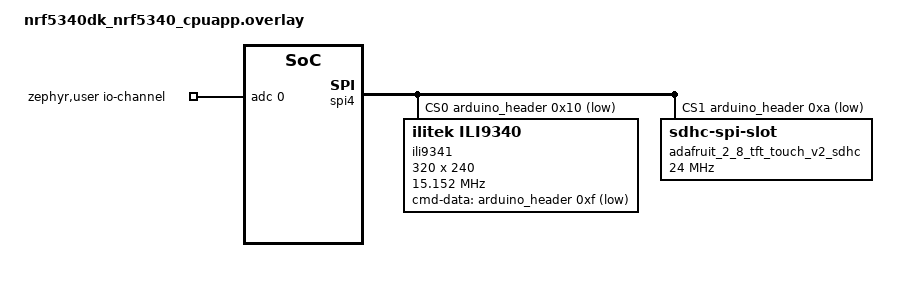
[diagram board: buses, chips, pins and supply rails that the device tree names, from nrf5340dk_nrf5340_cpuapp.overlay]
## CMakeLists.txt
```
# SPDX-License-Identifier: Apache-2.0

cmake_minimum_required(VERSION 3.20.0)

find_package(Zephyr REQUIRED HINTS $ENV{ZEPHYR_BASE})
project(lvgl)

# NORDIC SDK APP START
target_sources(app PRIVATE
  src/main.c 
)
```

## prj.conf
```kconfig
CONFIG_LV_Z_MEM_POOL_SIZE=16384
CONFIG_LV_Z_SHELL=y
CONFIG_MAIN_STACK_SIZE=2048

CONFIG_DISPLAY=y
CONFIG_DISPLAY_LOG_LEVEL_ERR=y

CONFIG_LOG=y
CONFIG_SHELL=y

CONFIG_LVGL=y
CONFIG_LV_USE_BAR=y
CONFIG_LV_TICK_CUSTOM=n
CONFIG_LV_MEM_CUSTOM=y
CONFIG_LV_USE_LOG=y
CONFIG_LV_USE_LABEL=y
CONFIG_LV_USE_BTN=y
CONFIG_LV_USE_ARC=y
CONFIG_LV_USE_IMG=y
CONFIG_LV_USE_MONKEY=y
CONFIG_LV_FONT_MONTSERRAT_14=y


CONFIG_NRFX_SAADC=y
CONFIG_NRFX_PPI=y
CONFIG_NRFX_DPPI=y
CONFIG_NRFX_TIMER2=y

CONFIG_GPIO=y

CONFIG_NCS_SAMPLES_DEFAULTS=y

CONFIG_BT=y
CONFIG_BT_PERIPHERAL=y
CONFIG_BT_DEVICE_NAME="Mic Node"
CONFIG_BT_BUF_ACL_RX_SIZE=502
CONFIG_BT_BUF_ACL_TX_SIZE=502
CONFIG_BT_L2CAP_TX_MTU=498
CONFIG_BT_CTLR_DATA_LENGTH_MAX=251

# Enable the LBS service
CONFIG_BT_LBS=y
CONFIG_BT_LBS_POLL_BUTTON=y
CONFIG_DK_LIBRARY=y


CONFIG_SYSTEM_WORKQUEUE_STACK_SIZE=2048

#Enable float string formatting
CONFIG_NEWLIB_LIBC=y
CONFIG_NEWLIB_LIBC_FLOAT_PRINTF=y

#CMSIS
CONFIG_REQUIRES_FULL_LIBC=y
CONFIG_CMSIS_DSP=y
```

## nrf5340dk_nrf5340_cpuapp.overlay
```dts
// To get started, press Ctrl+Space to bring up the completion menu and view the available nodes.

// You can also use the buttons in the sidebar to perform actions on nodes.
// Actions currently available include:

// * Enabling / disabling the node
// * Adding the bus to a bus
// * Removing the node
// * Connecting ADC channels

// For more help, browse the DeviceTree documentation at https://docs.zephyrproject.org/latest/guides/dts/index.html
// You can also visit the nRF DeviceTree extension documentation at https://docs.nordicsemi.com/bundle/nrf-connect-vscode/page/guides/ncs_configure_app.html#devicetree-support-in-the-extension

/ {
	chosen {
		zephyr,display = &ili9341;
	};

	zephyr,user {
		io-channels = <&adc 0>;
	};
};

&spi4{
    compatible = "nordic,nrf-spim";
    #address-cells = < 0x1 >;
    #size-cells = < 0x0 >;
    reg = < 0xa000 0x1000 >;
    interrupts = < 0xa 0x1 >;
    max-frequency = < 0x1e84800 >;
    easydma-maxcnt-bits = < 0x10 >;
    rx-delay-supported;
    rx-delay = < 0x2 >;
    status = "okay";
    cs-gpios = < &arduino_header 0x10 0x1 >, < &arduino_header 0xa 0x1 >;
    pinctrl-0 = < &spi4_default >;
    pinctrl-1 = < &spi4_sleep >;
    pinctrl-names = "default", "sleep";
    ili9341: ili9341@0 {
        compatible = "ilitek,ili9340";
        spi-max-frequency = < 0xe7319b >;
        reg = <0x0>;
        cmd-data-gpios = < &arduino_header 0xf 0x1 >;
        width = < 0x140 >;
        height = < 0xf0 >;
        pixel-format = < 0x1 >;
        rotation = < 0x5a >;
        frmctr1 = [ 00 18 ];
        pwctrl1 = [ 23 00 ];
        vmctrl1 = [ 3E 28 ];
        vmctrl2 = [ 86 ];
        pgamctrl = [ 0F 31 2B 0C 0E 08 4E F1 37 07 10 03 0E 09 00 ];
        ngamctrl = [ 00 0E 14 03 11 07 31 C1 48 08 0F 0C 31 36 0F ];
    };
    adafruit_2_8_tft_touch_v2_sdhc: sdhc@1 {
        compatible = "zephyr,sdhc-spi-slot";
        reg = < 0x1 >;
        status = "okay";
        spi-max-frequency = < 0x16e3600 >;
        mmc {
            compatible = "zephyr,sdmmc-disk";
            status = "okay";
        };
    };
};

&pinctrl {
    spi4_default{
        group1 {
                psels = <NRF_PSEL(SPIM_SCK, 1, 15)>,
                        <NRF_PSEL(SPIM_MISO, 1, 14)>,
                        <NRF_PSEL(SPIM_MOSI, 1, 13)>;
        };
    };

    spi4_sleep{
        group1 {
                psels = <NRF_PSEL(SPIM_SCK, 1, 15)>,
                        <NRF_PSEL(SPIM_MISO, 1, 14)>,
                        <NRF_PSEL(SPIM_MOSI, 1, 13)>;
                low-power-enable;
        };
    };
};
```

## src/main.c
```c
/*
 * Copyright (c) 2018 Jan Van Winkel <jan.van_winkel@dxplore.eu>
 *
 * SPDX-License-Identifier: Apache-2.0
 */

#include <zephyr/device.h>
#include <zephyr/devicetree.h>
#include <zephyr/drivers/display.h>
#include <zephyr/drivers/gpio.h>
#include <lvgl.h>
#include <stdio.h>
#include <string.h>
#include <zephyr/kernel.h>
#include <lvgl_input_device.h>
#include <zephyr/sys/printk.h>


#include <nrfx_saadc.h>
#include <nrfx_timer.h>
#include <helpers/nrfx_gppi.h>
#if defined(DPPI_PRESENT)
#include <nrfx_dppi.h>
#else
#include <nrfx_ppi.h>
#endif

#include "adcconfig.h"

//CMSIS
#include <stdlib.h>
#include <arm_math.h>
#include <arm_const_structs.h>

#define TEST_LENGTH_SAMPLES 64
#define BAR_COUNT (TEST_LENGTH_SAMPLES/2)

/* -------------------------------------------------------------------
* External Input and Output buffer Declarations for FFT Bin Example
* ------------------------------------------------------------------- */
static float32_t testInput[TEST_LENGTH_SAMPLES];
static float32_t testOutput[TEST_LENGTH_SAMPLES];

/* ------------------------------------------------------------------
* Global variables for FFT Bin Example
* ------------------------------------------------------------------- */
//uint32_t fftSize = 1024;
uint8_t fftFlag = 0;
//uint32_t doBitReverse = 1;

arm_rfft_fast_instance_f32 inst;
float32_t *output, *scratch;

void FFTCompute();



// ADC Config

const nrfx_timer_t timer_instance = NRFX_TIMER_INSTANCE(TIMER_INSTANCE_NUMBER);
static int16_t saadc_sample_buffer[2][SAADC_BUFFER_SIZE];
static uint32_t saadc_current_buffer = 0;

uint32_t adcval=0;

static lv_style_t style_indic;

static void configure_timer(void)
{
    nrfx_err_t err;

    /* Declaring timer config and intialize nrfx_timer instance. 
    1 000 000 Hz → 1 tick/µs */
    
    nrfx_timer_config_t timer_config = NRFX_TIMER_DEFAULT_CONFIG(1000000);
    err = nrfx_timer_init(&timer_instance, &timer_config, NULL);
    if (err != NRFX_SUCCESS) {
        printk("nrfx_timer_init error: %08x", err);
        return;
    }
    uint32_t timer_ticks = nrfx_timer_us_to_ticks(&timer_instance, SAADC_SAMPLE_INTERVAL_US);
    nrfx_timer_extended_compare(&timer_instance, NRF_TIMER_CC_CHANNEL0, timer_ticks, NRF_TIMER_SHORT_COMPARE0_CLEAR_MASK, false);

}

static void saadc_event_handler(nrfx_saadc_evt_t const * p_event)
{
    nrfx_err_t err;
    switch (p_event->type)
    {
            case NRFX_SAADC_EVT_READY:
            
            /*Buffer is ready, timer (and sampling) can be started. */
            nrfx_timer_enable(&timer_instance);
                break;                        
            
        case NRFX_SAADC_EVT_BUF_REQ:
        
            /*Set up the next available buffer. Alternate between buffer 0 and 1 */
            err = nrfx_saadc_buffer_set(saadc_sample_buffer[(saadc_current_buffer++)%2], SAADC_BUFFER_SIZE);
            if (err != NRFX_SUCCESS) {
                printk("nrfx_saadc_buffer_set error: %08x", err);
                return;
            }

            break;

        case NRFX_SAADC_EVT_DONE:

            /* Buffer has been filled. Do something with the data and proceed */
            int64_t total = 0;
            int16_t current_value;
            for (int i = 0; i < p_event->data.done.size; i++) {
                current_value = ((int16_t *)(p_event->data.done.p_buffer))[i];
                testInput[i] = current_value;
                total = total + current_value;
            }
            fftFlag = 1;
            adcval = total  / SAADC_BUFFER_SIZE;
            break;

        default:
            printk("Unhandled SAADC evt %d", p_event->type);
            break;
    }
}


static void configure_saadc(void)
{
    nrfx_err_t err;

    /* STEP 4.4 - Connect ADC interrupt to nrfx interrupt handler */
    IRQ_CONNECT(DT_IRQN(DT_NODELABEL(adc)),
    DT_IRQ(DT_NODELABEL(adc), priority),
    nrfx_isr, nrfx_saadc_irq_handler, 0);

    
    /* STEP 4.5 - Initialize the nrfx_SAADC driver */
    err = nrfx_saadc_init(DT_IRQ(DT_NODELABEL(adc), priority));
    if (err != NRFX_SUCCESS) {
        printk("nrfx_saadc_init error: %08x", err);
        return;
    }
    
    /* STEP 4.6 - Declare the struct to hold the configuration for the SAADC channel used to sample the battery voltage */
    #define SAADC_INPUT_PIN NRF_SAADC_INPUT_AIN0
    static nrfx_saadc_channel_t channel = NRFX_SAADC_DEFAULT_CHANNEL_SE(SAADC_INPUT_PIN, 0);

    /* STEP 4.7 - Change gain config in default config and apply channel configuration */
    channel.channel_config.gain = NRF_SAADC_GAIN1_6;
    err = nrfx_saadc_channels_config(&channel, 1);
    if (err != NRFX_SUCCESS) {
        printk("nrfx_saadc_channels_config error: %08x", err);
        return;
    }

    /* STEP 4.8 - Configure channel 0 in advanced mode with event handler (non-blocking mode) */
    nrfx_saadc_adv_config_t saadc_adv_config = NRFX_SAADC_DEFAULT_ADV_CONFIG;
    err = nrfx_saadc_advanced_mode_set(BIT(0),
                                        NRF_SAADC_RESOLUTION_12BIT,
                                        &saadc_adv_config,
                                        saadc_event_handler);
    if (err != NRFX_SUCCESS) {
        printk("nrfx_saadc_advanced_mode_set error: %08x", err);
        return;
    }
                                            
    /* STEP 4.9 - Configure two buffers to make use of double-buffering feature of SAADC */
    err = nrfx_saadc_buffer_set(saadc_sample_buffer[0], SAADC_BUFFER_SIZE);
    if (err != NRFX_SUCCESS) {
        printk("nrfx_saadc_buffer_set error: %08x", err);
        return;
    }
    err = nrfx_saadc_buffer_set(saadc_sample_buffer[1], SAADC_BUFFER_SIZE);
    if (err != NRFX_SUCCESS) {
        printk("nrfx_saadc_buffer_set error: %08x", err);
        return;
    }

    /* STEP 4.10 - Trigger the SAADC. This will not start sampling, but will prepare buffer for sampling triggered through PPI */
    err = nrfx_saadc_mode_trigger();
    if (err != NRFX_SUCCESS) {
        printk("nrfx_saadc_mode_trigger error: %08x", err);
        return;
    }

}

static void configure_ppi(void)
{
    nrfx_err_t err;
    /* STEP 6.1 - Declare variables used to hold the (D)PPI channel number */
    uint8_t m_saadc_sample_ppi_channel;
    uint8_t m_saadc_start_ppi_channel;

    /* STEP 6.2 - Trigger task sample from timer */
    err = nrfx_gppi_channel_alloc(&m_saadc_sample_ppi_channel);
    if (err != NRFX_SUCCESS) {
        printk("nrfx_gppi_channel_alloc error: %08x", err);
        return;
    }
    
    err = nrfx_gppi_channel_alloc(&m_saadc_start_ppi_channel);
    if (err != NRFX_SUCCESS) {
        printk("nrfx_gppi_channel_alloc error: %08x", err);
        return;
    }


    /* STEP 6.3 - Trigger task sample from timer */
    nrfx_gppi_channel_endpoints_setup(m_saadc_sample_ppi_channel,
        nrfx_timer_compare_event_address_get(&timer_instance,
                             NRF_TIMER_CC_CHANNEL0),
        nrf_saadc_task_address_get(NRF_SAADC, NRF_SAADC_TASK_SAMPLE));

    /* STEP 6.4 - Trigger task start from end event */
    nrfx_gppi_channel_endpoints_setup(m_saadc_start_ppi_channel,
        nrf_saadc_event_address_get(NRF_SAADC, NRF_SAADC_EVENT_END),
        nrf_saadc_task_address_get(NRF_SAADC, NRF_SAADC_TASK_START));

    /* STEP 6.5 - Enable both (D)PPI channels */ 
    nrfx_gppi_channels_enable(BIT(m_saadc_sample_ppi_channel));
    nrfx_gppi_channels_enable(BIT(m_saadc_start_ppi_channel));
}





#define LOG_LEVEL CONFIG_LOG_DEFAULT_LEVEL
#include <zephyr/logging/log.h>
LOG_MODULE_REGISTER(app);

#define LV_TICK_CUSTOM 0

static uint32_t count;

#ifdef CONFIG_GPIO
static struct gpio_dt_spec button_gpio = GPIO_DT_SPEC_GET_OR(
		DT_ALIAS(sw0), gpios, {0});
static struct gpio_callback button_callback;

bool color = true;
static void button_isr_callback(const struct device *port,
				struct gpio_callback *cb,
				uint32_t pins)
{
    
    printk("Button pressed!\r\n");
    if (color) lv_style_set_bg_color(&style_indic, lv_palette_main(LV_PALETTE_RED));
    else lv_style_set_bg_color(&style_indic, lv_palette_main(LV_PALETTE_DEEP_PURPLE));
    color = !color;
	ARG_UNUSED(port);
	ARG_UNUSED(cb);
	ARG_UNUSED(pins);

	count = 0;
}
#endif /* CONFIG_GPIO */

#ifdef CONFIG_LV_Z_ENCODER_INPUT
static const struct device *lvgl_encoder =
	DEVICE_DT_GET(DT_COMPAT_GET_ANY_STATUS_OKAY(zephyr_lvgl_encoder_input));
#endif /* CONFIG_LV_Z_ENCODER_INPUT */

static void lv_btn_click_callback(lv_event_t *e)
{
	ARG_UNUSED(e);

	count = 0;
}






int main(void)
{

	configure_timer();
    configure_saadc();  
    configure_ppi();

	
	lv_init();
	char count_str[11] = {0};
	const struct device *display_dev;
	lv_obj_t *hello_world_label;
	lv_obj_t *count_label;
	lv_obj_t * bar1;
    lv_obj_t * bar[100];
    lv_obj_t *value_label;

	display_dev = DEVICE_DT_GET(DT_CHOSEN(zephyr_display));
	if (!device_is_ready(display_dev)) {
		printk("Device not ready, aborting test");
		return 0;
	}
	else printk("Device DT GET pass");

#ifdef CONFIG_GPIO
	if (gpio_is_ready_dt(&button_gpio)) {
		int err;

		err = gpio_pin_configure_dt(&button_gpio, GPIO_INPUT);
		if (err) {
			printk("failed to configure button gpio: %d", err);
			return 0;
		}
		else printk("Button set");

		gpio_init_callback(&button_callback, button_isr_callback,
				   BIT(button_gpio.pin));

		err = gpio_add_callback(button_gpio.port, &button_callback);
		if (err) {
			printk("failed to add button callback: %d", err);
			return 0;
		}
		else printk("button callback pass");

		err = gpio_pin_interrupt_configure_dt(&button_gpio,
						      GPIO_INT_EDGE_TO_ACTIVE);
		if (err) {
			printk("failed to enable button callback: %d", err);
			return 0;
		}
		else printk("button enable");
	}
#endif /* CONFIG_GPIO */

#ifdef CONFIG_LV_Z_ENCODER_INPUT
	lv_obj_t *arc;
	lv_group_t *arc_group;

	arc = lv_arc_create(lv_scr_act());
	lv_obj_align(arc, LV_ALIGN_CENTER, 0, 0);
	lv_obj_set_size(arc, 150, 150);

	arc_group = lv_group_create();
	lv_group_add_obj(arc_group, arc);
	lv_indev_set_group(lvgl_input_get_indev(lvgl_encoder), arc_group);
#endif /* CONFIG_LV_Z_ENCODER_INPUT */

	if (IS_ENABLED(CONFIG_LV_Z_POINTER_KSCAN) || IS_ENABLED(CONFIG_LV_Z_POINTER_INPUT)) {
		lv_obj_t *hello_world_button;

		hello_world_button = lv_btn_create(lv_scr_act());
		lv_obj_align(hello_world_button, LV_ALIGN_CENTER, 0, 0);
		lv_obj_add_event_cb(hello_world_button, lv_btn_click_callback, LV_EVENT_CLICKED,
						NULL);
		hello_world_label = lv_label_create(hello_world_button);
	} else {
		hello_world_label = lv_label_create(lv_scr_act());
	}

	lv_label_set_text(hello_world_label, "FFT VISUALIZER - 20 KHz");
	lv_obj_align(hello_world_label, LV_ALIGN_TOP_LEFT, 0, 0);
	printk("FFT visulizer set\r\n");


    value_label = lv_label_create(lv_scr_act());
        /* Create a buffer to store the converted ADC value */
        char buf[50];

        /* Convert adcval to a string. Using snprintf helps prevent buffer overflow. */
        snprintf(buf, sizeof(buf), "%u", adcval);
    
    lv_label_set_text(value_label, buf);
    lv_obj_align(value_label, LV_ALIGN_BOTTOM_MID, 0, 0);


    lv_style_init(&style_indic);
    lv_style_set_bg_opa(&style_indic, LV_OPA_COVER);
    lv_style_set_bg_color(&style_indic, lv_palette_main(LV_PALETTE_DEEP_PURPLE));

    uint8_t offx=0;
    for (uint8_t a=0; a<BAR_COUNT; a++){  
        bar[a] = lv_bar_create(lv_scr_act());
        lv_obj_add_style(bar[a], &style_indic, LV_PART_INDICATOR);
        lv_obj_set_size(bar[a], 10, 150);
        lv_bar_set_range(bar[a], 0, 5000);
        lv_bar_set_value(bar[a], 0, LV_ANIM_OFF);
        lv_obj_align(bar[a], LV_ALIGN_OUT_LEFT_MID, offx, 30);
        offx=offx+10;
    }
 

	lv_task_handler();
	display_blanking_off(display_dev);
	uint8_t count2=0;


    	/* Initialise instance */
	arm_rfft_fast_init_f32(&inst, TEST_LENGTH_SAMPLES);

    
    uint16_t highestbin=0;
	while (1) {
        const float scale = 2.0f/TEST_LENGTH_SAMPLES;

        // FFT Computation
        if (fftFlag) {
        // Remove DC:
        float32_t mean = 0;
        for (int i = 0; i < TEST_LENGTH_SAMPLES; i++) {
            mean += testInput[i];
        }
        mean /= TEST_LENGTH_SAMPLES;
        for (int i = 0; i < TEST_LENGTH_SAMPLES; i++) {
            testInput[i] -= mean;
        }

        //window:
        for (int i = 0; i < TEST_LENGTH_SAMPLES; i++) {
            float w = 0.54f - 0.46f * cosf(2*PI*i/(TEST_LENGTH_SAMPLES-1));
            testInput[i] *= w;
        }


            /* Run test function */
            arm_rfft_fast_f32(&inst, testInput, testOutput, 0);
            int oldmag=0;
            // compute and print magnitudes
            for (uint16_t b = 0; b < BAR_COUNT /*TEST_LENGTH_SAMPLES/2 */; b++) {
                float32_t re = testOutput[2*b];
                float32_t im = testOutput[2*b+1];
                int mag = (int) sqrtf(re*re + im*im)* scale;
                if(b!=0) if (mag > oldmag) {
                    oldmag = mag;
                    highestbin = b;
                } 
                lv_bar_set_value(bar[b], mag, LV_ANIM_OFF);
                printk("%u: %d\r\n", b, mag);
            }
            fftFlag = 0;
        }
        if (color) {
            //uint16_t lowhighestfreq = (highestbin) * 244;
            uint16_t highighestfreq = (highestbin+1) * 244;
            //uint16_t mid = (lowhighestfreq+highighestfreq)/2;
            snprintf(buf, sizeof(buf), "%u Hz", highighestfreq);
            lv_label_set_text(value_label, buf);
        }
        else {
            float voltage = (adcval * 3.3f) / 4095.0f;
            snprintf(buf, sizeof(buf), "%f", voltage);
            lv_label_set_text(value_label, buf);
        }
		lv_task_handler();
		//if (count2<=100)count2++;
		//else count2 = 0;
		//k_sleep(K_MSEC(1));
	}
}
```

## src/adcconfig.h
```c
#define SAADC_SAMPLE_INTERVAL_US 64
#define SAADC_BUFFER_SIZE   128
#define TIMER_INSTANCE_NUMBER 2
```
